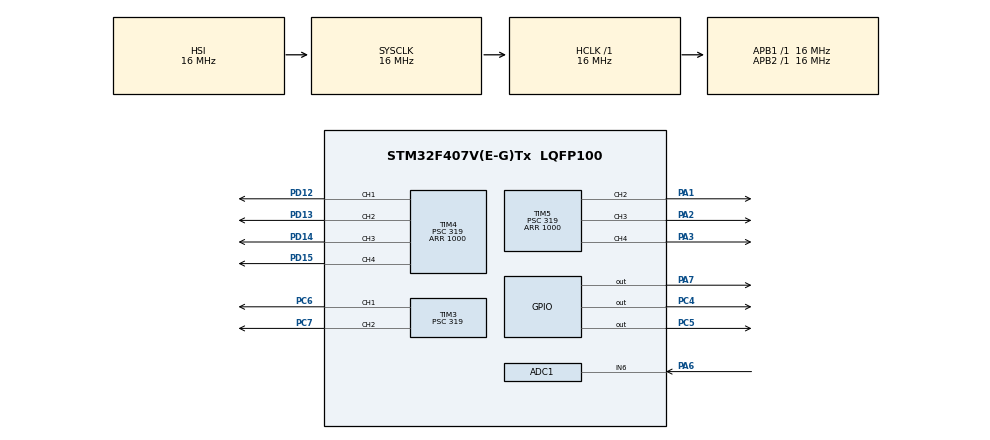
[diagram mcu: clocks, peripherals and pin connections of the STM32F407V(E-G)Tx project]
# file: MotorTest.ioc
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ADC1.Channel-1\#ChannelRegularConversion=ADC_CHANNEL_6
ADC1.NbrOfConversionFlag=1
ADC1.Rank-1\#ChannelRegularConversion=1
ADC1.SamplingTime-1\#ChannelRegularConversion=ADC_SAMPLETIME_480CYCLES
ADC1.master=1
Mcu.Family=STM32F4
Mcu.Name=STM32F407V(E-G)Tx
Mcu.Package=LQFP100
NVIC.ADC_IRQn=true\:0\:0\:false\:false\:true\:true\:true\:true
NVIC.PriorityGroup=NVIC_PRIORITYGROUP_4
PA1.Signal=S_TIM5_CH2
PA13.Mode=Serial_Wire
PA13.Signal=SYS_JTMS-SWDIO
PA14.Mode=Serial_Wire
PA14.Signal=SYS_JTCK-SWCLK
PA2.Signal=S_TIM5_CH3
PA3.Signal=S_TIM5_CH4
PA6.Signal=ADCx_IN6
PA7.Signal=GPIO_Output
PC4.Signal=GPIO_Output
PC5.Signal=GPIO_Output
PC6.Signal=S_TIM3_CH1
PC7.Signal=S_TIM3_CH2
PD12.Signal=S_TIM4_CH1
PD13.Signal=S_TIM4_CH2
PD14.Signal=S_TIM4_CH3
PD15.Signal=S_TIM4_CH4
ProjectManager.HeapSize=0x200
ProjectManager.StackSize=0x400
ProjectManager.TargetToolchain=STM32CubeIDE
RCC.48MHZClocksFreq_Value=48000000
RCC.AHBFreq_Value=16000000
RCC.APB1Freq_Value=16000000
RCC.APB1TimFreq_Value=16000000
RCC.APB2Freq_Value=16000000
RCC.APB2TimFreq_Value=16000000
RCC.CortexFreq_Value=16000000
RCC.HCLKFreq_Value=16000000
RCC.HSE_VALUE=25000000
RCC.HSI_VALUE=16000000
RCC.LSE_VALUE=32768
RCC.SYSCLKFreq_VALUE=16000000
RCC.VCOOutputFreq_Value=192000000
SH.ADCx_IN6.0=ADC1_IN6,IN6
SH.S_TIM3_CH1.0=TIM3_CH1,PWM Generation1 CH1
SH.S_TIM3_CH2.0=TIM3_CH2,PWM Generation2 CH2
SH.S_TIM4_CH1.0=TIM4_CH1,PWM Generation1 CH1
SH.S_TIM4_CH2.0=TIM4_CH2,PWM Generation2 CH2
SH.S_TIM4_CH3.0=TIM4_CH3,PWM Generation3 CH3
SH.S_TIM4_CH4.0=TIM4_CH4,PWM Generation4 CH4
SH.S_TIM5_CH2.0=TIM5_CH2,PWM Generation2 CH2
SH.S_TIM5_CH3.0=TIM5_CH3,PWM Generation3 CH3
SH.S_TIM5_CH4.0=TIM5_CH4,Output Compare4 CH4
TIM3.Channel-PWM\ Generation1\ CH1=TIM_CHANNEL_1
TIM3.Channel-PWM\ Generation2\ CH2=TIM_CHANNEL_2
TIM3.Period=999
TIM3.Prescaler=319
TIM3.Pulse-PWM\ Generation1\ CH1=0
TIM3.Pulse-PWM\ Generation2\ CH2=0
TIM4.Channel-PWM\ Generation1\ CH1=TIM_CHANNEL_1
TIM4.Channel-PWM\ Generation2\ CH2=TIM_CHANNEL_2
TIM4.Channel-PWM\ Generation3\ CH3=TIM_CHANNEL_3
TIM4.Channel-PWM\ Generation4\ CH4=TIM_CHANNEL_4
TIM4.Period=1000
TIM4.Prescaler=319
TIM4.Pulse-PWM\ Generation1\ CH1=0
TIM4.Pulse-PWM\ Generation2\ CH2=0
TIM4.Pulse-PWM\ Generation3\ CH3=0
TIM4.Pulse-PWM\ Generation4\ CH4=0
TIM5.Channel-Output\ Compare4\ CH4=TIM_CHANNEL_4
TIM5.Channel-PWM\ Generation2\ CH2=TIM_CHANNEL_2
TIM5.Channel-PWM\ Generation3\ CH3=TIM_CHANNEL_3
TIM5.Period=1000
TIM5.Prescaler=319
VP_TIM3_VS_ClockSourceINT.Mode=Internal
VP_TIM4_VS_ClockSourceINT.Mode=Internal
VP_TIM5_VS_ClockSourceINT.Mode=Internal
board=custom

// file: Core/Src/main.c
/* USER CODE BEGIN Header */
/**
  ******************************************************************************
  * @file           : main.c
  * @brief          : Main program body
  ******************************************************************************
  * @attention
  *
  * Copyright (c) 2024 STMicroelectronics.
  * All rights reserved.
  *
  * This software is licensed under terms that can be found in the LICENSE file
  * in the root directory of this software component.
  * If no LICENSE file comes with this software, it is provided AS-IS.
  *
  ******************************************************************************
  */
/* USER CODE END Header */
#include "main.h"

ADC_HandleTypeDef hadc1;

TIM_HandleTypeDef htim3;
TIM_HandleTypeDef htim4;
TIM_HandleTypeDef htim5;

void SystemClock_Config(void);
static void MX_GPIO_Init(void);
static void MX_TIM3_Init(void);
static void MX_TIM4_Init(void);
static void MX_ADC1_Init(void);
static void MX_TIM5_Init(void);

int main(void)
{

  /* MCU Configuration--------------------------------------------------------*/

  /* Reset of all peripherals, Initializes the Flash interface and the Systick. */
  HAL_Init();

  /* Configure the system clock */
  SystemClock_Config();

  /* Initialize all configured peripherals */
  MX_GPIO_Init();
  MX_TIM3_Init();
  MX_TIM4_Init();
  MX_ADC1_Init();
  MX_TIM5_Init();
  /* USER CODE BEGIN 2 */
	HAL_TIM_PWM_Start(&htim3, TIM_CHANNEL_2); //PWM0
	HAL_TIM_PWM_Start(&htim3, TIM_CHANNEL_1); //PWM1
	HAL_TIM_PWM_Start(&htim4, TIM_CHANNEL_4); //PWM2
	HAL_TIM_PWM_Start(&htim4, TIM_CHANNEL_3); //PWM3
	HAL_TIM_PWM_Start(&htim4, TIM_CHANNEL_2); //PWM4
	HAL_TIM_PWM_Start(&htim4, TIM_CHANNEL_1); //PWM5

  /* USER CODE END 2 */

  /* Infinite loop */
  /* USER CODE BEGIN WHILE */
	TIM3->CCR1 = 500;
	  TIM4->CCR1 = 75;
	  TIM4->CCR2 = 75;
	  TIM4->CCR3 = 75;
	  HAL_Delay(5000);
	  TIM3->CCR2=0;
	  TIM3->CCR1=0;
	  TIM4->CCR1 = 0;
	  TIM4->CCR2 = 0;
	  TIM4->CCR3 = 0;
	  HAL_Delay(2000);
	  //HAL_ADC_Start_IT(&ADC1_value);
  while (1)
  {

//	  __HAL_TIM_SET_COMPARE(&htim3,TIM_CHANNEL_2, 0);
//	  __HAL_TIM_SET_COMPARE(&htim3,TIM_CHANNEL_1,900);
//	  HAL_Delay(1000);
	  TIM4->CCR1 = 90;
	  TIM4->CCR2 = 86;
	  TIM4->CCR3 = 94;
    /* USER CODE END WHILE */

  }
}

void SystemClock_Config(void)
{
  RCC_OscInitTypeDef RCC_OscInitStruct = {0};
  RCC_ClkInitTypeDef RCC_ClkInitStruct = {0};

  /** Configure the main internal regulator output voltage
  */
  __HAL_RCC_PWR_CLK_ENABLE();
  __HAL_PWR_VOLTAGESCALING_CONFIG(PWR_REGULATOR_VOLTAGE_SCALE1);

  /** Initializes the RCC Oscillators according to the specified parameters
  * in the RCC_OscInitTypeDef structure.
  */
  RCC_OscInitStruct.OscillatorType = RCC_OSCILLATORTYPE_HSI;
  RCC_OscInitStruct.HSIState = RCC_HSI_ON;
  RCC_OscInitStruct.HSICalibrationValue = RCC_HSICALIBRATION_DEFAULT;
  RCC_OscInitStruct.PLL.PLLState = RCC_PLL_NONE;
  if (HAL_RCC_OscConfig(&RCC_OscInitStruct) != HAL_OK)
  {
    Error_Handler();
  }

  /** Initializes the CPU, AHB and APB buses clocks
  */
  RCC_ClkInitStruct.ClockType = RCC_CLOCKTYPE_HCLK|RCC_CLOCKTYPE_SYSCLK
                              |RCC_CLOCKTYPE_PCLK1|RCC_CLOCKTYPE_PCLK2;
  RCC_ClkInitStruct.SYSCLKSource = RCC_SYSCLKSOURCE_HSI;
  RCC_ClkInitStruct.AHBCLKDivider = RCC_SYSCLK_DIV1;
  RCC_ClkInitStruct.APB1CLKDivider = RCC_HCLK_DIV1;
  RCC_ClkInitStruct.APB2CLKDivider = RCC_HCLK_DIV1;

  if (HAL_RCC_ClockConfig(&RCC_ClkInitStruct, FLASH_LATENCY_0) != HAL_OK)
  {
    Error_Handler();
  }
}

static void MX_ADC1_Init(void)
{

  ADC_ChannelConfTypeDef sConfig = {0};

  /** Configure the global features of the ADC (Clock, Resolution, Data Alignment and number of conversion)
  */
  hadc1.Instance = ADC1;
  hadc1.Init.ClockPrescaler = ADC_CLOCK_SYNC_PCLK_DIV2;
  hadc1.Init.Resolution = ADC_RESOLUTION_12B;
  hadc1.Init.ScanConvMode = DISABLE;
  hadc1.Init.ContinuousConvMode = DISABLE;
  hadc1.Init.DiscontinuousConvMode = DISABLE;
  hadc1.Init.ExternalTrigConvEdge = ADC_EXTERNALTRIGCONVEDGE_NONE;
  hadc1.Init.ExternalTrigConv = ADC_SOFTWARE_START;
  hadc1.Init.DataAlign = ADC_DATAALIGN_RIGHT;
  hadc1.Init.NbrOfConversion = 1;
  hadc1.Init.DMAContinuousRequests = DISABLE;
  hadc1.Init.EOCSelection = ADC_EOC_SINGLE_CONV;
  if (HAL_ADC_Init(&hadc1) != HAL_OK)
  {
    Error_Handler();
  }

  /** Configure for the selected ADC regular channel its corresponding rank in the sequencer and its sample time.
  */
  sConfig.Channel = ADC_CHANNEL_6;
  sConfig.Rank = 1;
  sConfig.SamplingTime = ADC_SAMPLETIME_480CYCLES;
  if (HAL_ADC_ConfigChannel(&hadc1, &sConfig) != HAL_OK)
  {
    Error_Handler();
  }

}

static void MX_TIM3_Init(void)
{

  TIM_ClockConfigTypeDef sClockSourceConfig = {0};
  TIM_MasterConfigTypeDef sMasterConfig = {0};
  TIM_OC_InitTypeDef sConfigOC = {0};

  htim3.Instance = TIM3;
  htim3.Init.Prescaler = 319;
  htim3.Init.CounterMode = TIM_COUNTERMODE_UP;
  htim3.Init.Period = 999;
  htim3.Init.ClockDivision = TIM_CLOCKDIVISION_DIV1;
  htim3.Init.AutoReloadPreload = TIM_AUTORELOAD_PRELOAD_DISABLE;
  if (HAL_TIM_Base_Init(&htim3) != HAL_OK)
  {
    Error_Handler();
  }
  sClockSourceConfig.ClockSource = TIM_CLOCKSOURCE_INTERNAL;
  if (HAL_TIM_ConfigClockSource(&htim3, &sClockSourceConfig) != HAL_OK)
  {
    Error_Handler();
  }
  if (HAL_TIM_PWM_Init(&htim3) != HAL_OK)
  {
    Error_Handler();
  }
  sMasterConfig.MasterOutputTrigger = TIM_TRGO_RESET;
  sMasterConfig.MasterSlaveMode = TIM_MASTERSLAVEMODE_DISABLE;
  if (HAL_TIMEx_MasterConfigSynchronization(&htim3, &sMasterConfig) != HAL_OK)
  {
    Error_Handler();
  }
  sConfigOC.OCMode = TIM_OCMODE_PWM1;
  sConfigOC.Pulse = 0;
  sConfigOC.OCPolarity = TIM_OCPOLARITY_HIGH;
  sConfigOC.OCFastMode = TIM_OCFAST_DISABLE;
  if (HAL_TIM_PWM_ConfigChannel(&htim3, &sConfigOC, TIM_CHANNEL_1) != HAL_OK)
  {
    Error_Handler();
  }
  if (HAL_TIM_PWM_ConfigChannel(&htim3, &sConfigOC, TIM_CHANNEL_2) != HAL_OK)
  {
    Error_Handler();
  }
  HAL_TIM_MspPostInit(&htim3);

}

static void MX_TIM4_Init(void)
{

  TIM_ClockConfigTypeDef sClockSourceConfig = {0};
  TIM_MasterConfigTypeDef sMasterConfig = {0};
  TIM_OC_InitTypeDef sConfigOC = {0};

  htim4.Instance = TIM4;
  htim4.Init.Prescaler = 319;
  htim4.Init.CounterMode = TIM_COUNTERMODE_UP;
  htim4.Init.Period = 1000;
  htim4.Init.ClockDivision = TIM_CLOCKDIVISION_DIV1;
  htim4.Init.AutoReloadPreload = TIM_AUTORELOAD_PRELOAD_DISABLE;
  if (HAL_TIM_Base_Init(&htim4) != HAL_OK)
  {
    Error_Handler();
  }
  sClockSourceConfig.ClockSource = TIM_CLOCKSOURCE_INTERNAL;
  if (HAL_TIM_ConfigClockSource(&htim4, &sClockSourceConfig) != HAL_OK)
  {
    Error_Handler();
  }
  if (HAL_TIM_PWM_Init(&htim4) != HAL_OK)
  {
    Error_Handler();
  }
  sMasterConfig.MasterOutputTrigger = TIM_TRGO_RESET;
  sMasterConfig.MasterSlaveMode = TIM_MASTERSLAVEMODE_DISABLE;
  if (HAL_TIMEx_MasterConfigSynchronization(&htim4, &sMasterConfig) != HAL_OK)
  {
    Error_Handler();
  }
  sConfigOC.OCMode = TIM_OCMODE_PWM1;
  sConfigOC.Pulse = 0;
  sConfigOC.OCPolarity = TIM_OCPOLARITY_HIGH;
  sConfigOC.OCFastMode = TIM_OCFAST_DISABLE;
  if (HAL_TIM_PWM_ConfigChannel(&htim4, &sConfigOC, TIM_CHANNEL_1) != HAL_OK)
  {
    Error_Handler();
  }
  if (HAL_TIM_PWM_ConfigChannel(&htim4, &sConfigOC, TIM_CHANNEL_2) != HAL_OK)
  {
    Error_Handler();
  }
  if (HAL_TIM_PWM_ConfigChannel(&htim4, &sConfigOC, TIM_CHANNEL_3) != HAL_OK)
  {
    Error_Handler();
  }
  if (HAL_TIM_PWM_ConfigChannel(&htim4, &sConfigOC, TIM_CHANNEL_4) != HAL_OK)
  {
    Error_Handler();
  }
  HAL_TIM_MspPostInit(&htim4);

}

static void MX_TIM5_Init(void)
{

  TIM_ClockConfigTypeDef sClockSourceConfig = {0};
  TIM_MasterConfigTypeDef sMasterConfig = {0};
  TIM_OC_InitTypeDef sConfigOC = {0};

  htim5.Instance = TIM5;
  htim5.Init.Prescaler = 319;
  htim5.Init.CounterMode = TIM_COUNTERMODE_UP;
  htim5.Init.Period = 1000;
  htim5.Init.ClockDivision = TIM_CLOCKDIVISION_DIV1;
  htim5.Init.AutoReloadPreload = TIM_AUTORELOAD_PRELOAD_DISABLE;
  if (HAL_TIM_Base_Init(&htim5) != HAL_OK)
  {
    Error_Handler();
  }
  sClockSourceConfig.ClockSource = TIM_CLOCKSOURCE_INTERNAL;
  if (HAL_TIM_ConfigClockSource(&htim5, &sClockSourceConfig) != HAL_OK)
  {
    Error_Handler();
  }
  if (HAL_TIM_PWM_Init(&htim5) != HAL_OK)
  {
    Error_Handler();
  }
  if (HAL_TIM_OC_Init(&htim5) != HAL_OK)
  {
    Error_Handler();
  }
  sMasterConfig.MasterOutputTrigger = TIM_TRGO_RESET;
  sMasterConfig.MasterSlaveMode = TIM_MASTERSLAVEMODE_DISABLE;
  if (HAL_TIMEx_MasterConfigSynchronization(&htim5, &sMasterConfig) != HAL_OK)
  {
    Error_Handler();
  }
  sConfigOC.OCMode = TIM_OCMODE_PWM1;
  sConfigOC.Pulse = 0;
  sConfigOC.OCPolarity = TIM_OCPOLARITY_HIGH;
  sConfigOC.OCFastMode = TIM_OCFAST_DISABLE;
  if (HAL_TIM_PWM_ConfigChannel(&htim5, &sConfigOC, TIM_CHANNEL_2) != HAL_OK)
  {
    Error_Handler();
  }
  if (HAL_TIM_PWM_ConfigChannel(&htim5, &sConfigOC, TIM_CHANNEL_3) != HAL_OK)
  {
    Error_Handler();
  }
  sConfigOC.OCMode = TIM_OCMODE_TIMING;
  if (HAL_TIM_OC_ConfigChannel(&htim5, &sConfigOC, TIM_CHANNEL_4) != HAL_OK)
  {
    Error_Handler();
  }
  HAL_TIM_MspPostInit(&htim5);

}

static void MX_GPIO_Init(void)
{
  GPIO_InitTypeDef GPIO_InitStruct = {0};

  /* GPIO Ports Clock Enable */
  __HAL_RCC_GPIOA_CLK_ENABLE();
  __HAL_RCC_GPIOC_CLK_ENABLE();
  __HAL_RCC_GPIOD_CLK_ENABLE();

  /*Configure GPIO pin Output Level */
  HAL_GPIO_WritePin(GPIOA, GPIO_PIN_7, GPIO_PIN_RESET);

  /*Configure GPIO pin Output Level */
  HAL_GPIO_WritePin(GPIOC, GPIO_PIN_4|GPIO_PIN_5, GPIO_PIN_RESET);

  /*Configure GPIO pin : PA7 */
  GPIO_InitStruct.Pin = GPIO_PIN_7;
  GPIO_InitStruct.Mode = GPIO_MODE_OUTPUT_PP;
  GPIO_InitStruct.Pull = GPIO_NOPULL;
  GPIO_InitStruct.Speed = GPIO_SPEED_FREQ_LOW;
  HAL_GPIO_Init(GPIOA, &GPIO_InitStruct);

  /*Configure GPIO pins : PC4 PC5 */
  GPIO_InitStruct.Pin = GPIO_PIN_4|GPIO_PIN_5;
  GPIO_InitStruct.Mode = GPIO_MODE_OUTPUT_PP;
  GPIO_InitStruct.Pull = GPIO_NOPULL;
  GPIO_InitStruct.Speed = GPIO_SPEED_FREQ_LOW;
  HAL_GPIO_Init(GPIOC, &GPIO_InitStruct);

}

/* USER CODE BEGIN 4 */

void Turn() {
	TIM3->CCR2 = 400;
	TIM3->CCR1 = 0;

}
struct Motor {
	int dir;
	int speed;
	int timer1;
	int timer2;
	int CH1;
	int CH2;

};
/* USER CODE END 4 */

void Error_Handler(void)
{
  __disable_irq();
  while (1)
  {
  }
}
